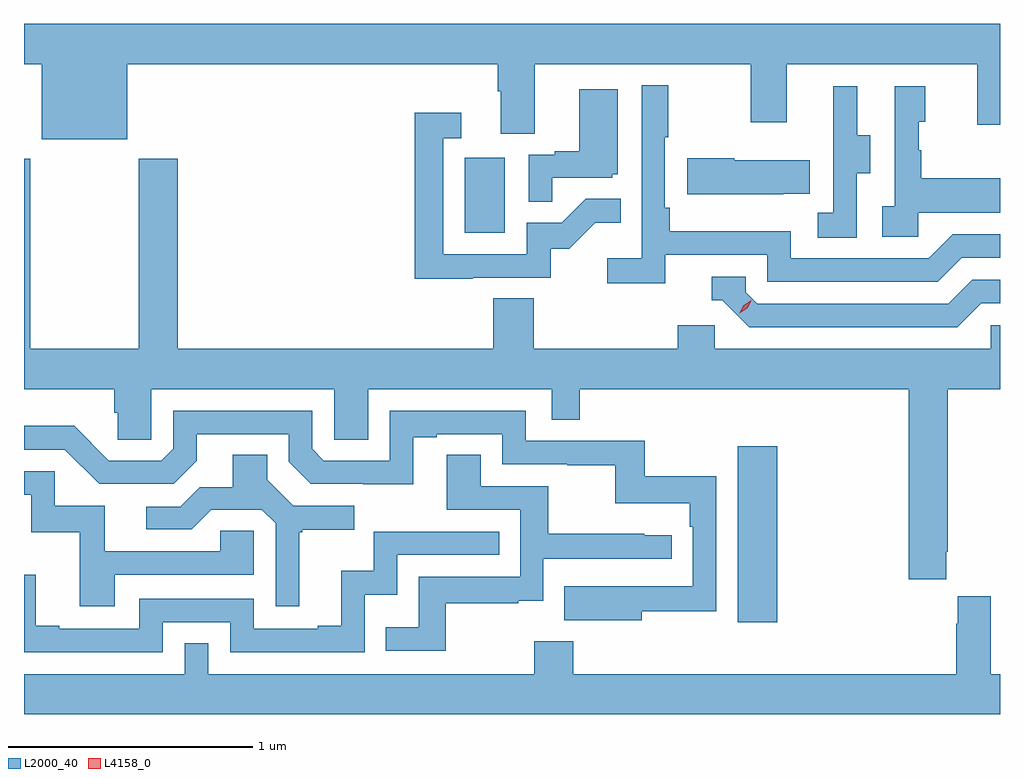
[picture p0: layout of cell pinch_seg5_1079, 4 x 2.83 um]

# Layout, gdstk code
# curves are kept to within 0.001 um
import gdstk
lib = gdstk.Library(unit=1e-6, precision=1e-09)
def R(c, l, rs):  # rectangles x0, y0, x1, y1
    for r in rs: c.add(gdstk.rectangle(r[:2], r[2:], *l))
def P(c, l, *ps):  # polygons
    for p in ps: c.add(gdstk.Polygon(p, *l))
L2000_40 = (2000, 40)
L4158_0 = (4158, 0)

pinch_seg5_1079 = lib.new_cell('pinch_seg5_1079')
R(pinch_seg5_1079, L2000_40, [(819.785,857.136,819.946,857.857), (818.666,858.732,818.83,859.039)])
P(pinch_seg5_1079, L2000_40, [(817.282,859.424),(818.801,859.424),(818.801,859.312),(818.813,859.312),(818.813,859.138),(818.953,859.138),(818.953,859.424),(819.838,859.424),(819.838,859.185),(819.985,859.185),(819.985,859.424),(820.766,859.424),(820.766,859.176),(820.859,859.176),(820.859,859.588),(816.859,859.588),(816.859,859.424),(816.932,859.424),(816.932,859.115),(817.282,859.115)],
  [(819.488,858.642),(819.906,858.642),(819.906,858.531),(820.603,858.531),(820.702,858.63),(820.859,858.63),(820.859,858.726),(820.665,858.726),(820.566,858.627),(820.002,858.627),(820.002,858.739),(819.506,858.739),(819.506,858.835),(819.486,858.835),(819.486,859.123),(819.499,859.123),(819.499,859.336),(819.39,859.336),(819.39,858.628),(819.249,858.628),(819.249,858.526),(819.488,858.526)],
  [(820.524,858.815),(820.859,858.815),(820.859,858.955),(820.537,858.955),(820.537,859.07),(820.527,859.07),(820.527,859.188),(820.552,859.188),(820.552,859.333),(820.428,859.333),(820.428,858.842),(820.377,858.842),(820.377,858.717),(820.524,858.717)],
  [(820.272,858.976),(820.327,858.976),(820.327,859.131),(820.273,859.131),(820.273,859.333),(820.175,859.333),(820.175,859.119),(820.176,859.119),(820.176,858.815),(820.113,858.815),(820.113,858.712),(820.272,858.712)],
  [(819.023,858.957),(819.27,858.957),(819.27,858.972),(819.292,858.972),(819.292,859.321),(819.134,859.321),(819.134,859.066),(819.035,859.066),(819.035,859.053),(818.928,859.053),(818.928,858.859),(819.023,858.859)],
  [(818.699,858.549),(819.018,858.549),(819.018,858.666),(819.094,858.666),(819.201,858.773),(819.305,858.773),(819.305,858.872),(819.161,858.872),(819.063,858.774),(818.919,858.774),(818.919,858.645),(818.577,858.645),(818.577,859.119),(818.65,859.119),(818.65,859.225),(818.461,859.225),(818.461,858.544),(818.699,858.544)],
  [(819.971,858.893),(820.079,858.893),(820.079,859.03),(819.769,859.03),(819.769,859.038),(819.578,859.038),(819.578,858.89),(819.971,858.89)],
  [(820.639,857.425),(820.644,857.425),(820.644,858.092),(820.859,858.092),(820.859,858.354),(820.821,858.354),(820.821,858.256),(819.69,858.256),(819.69,858.354),(819.539,858.354),(819.539,858.256),(818.948,858.256),(818.948,858.464),(818.783,858.464),(818.783,858.256),(817.49,858.256),(817.49,859.036),(817.33,859.036),(817.33,858.256),(816.885,858.256),(816.885,859.036),(816.859,859.036),(816.859,858.092),(817.229,858.092),(817.229,857.994),(817.243,857.994),(817.243,857.884),(817.38,857.884),(817.38,858.092),(818.13,858.092),(818.13,857.884),(818.269,857.884),(818.269,858.092),(819.021,858.092),(819.021,857.965),(819.137,857.965),(819.137,858.092),(820.484,858.092),(820.484,857.313),(820.639,857.313)],
  [(820.783,858.444),(820.859,858.444),(820.859,858.54),(820.746,858.54),(820.647,858.441),(819.864,858.441),(819.816,858.489),(819.816,858.552),(819.677,858.552),(819.677,858.456),(819.72,858.456),(819.831,858.345),(820.684,858.345)],
  [(819.391,857.182),(819.696,857.182),(819.696,857.734),(819.403,857.734),(819.403,857.88),(818.916,857.88),(818.916,858.003),(818.358,858.003),(818.358,857.799),(818.088,857.799),(818.04,857.847),(818.04,858.003),(817.47,858.003),(817.47,857.847),(817.422,857.799),(817.206,857.799),(817.064,857.941),(816.859,857.941),(816.859,857.844),(817.026,857.844),(817.167,857.703),(817.473,857.703),(817.567,857.797),(817.567,857.907),(817.944,857.907),(817.944,857.793),(818.034,857.703),(818.455,857.702),(818.455,857.895),(818.551,857.895),(818.551,857.907),(818.82,857.907),(818.82,857.784),(819.085,857.784),(819.085,857.779),(819.282,857.779),(819.282,857.624),(819.587,857.624),(819.587,857.528),(819.6,857.528),(819.6,857.283),(819.073,857.284),(819.073,857.144),(819.391,857.144)],
  [(818.587,857.214),(818.885,857.214),(818.885,857.225),(818.988,857.225),(818.988,857.397),(819.514,857.397),(819.514,857.493),(819.401,857.493),(819.401,857.498),(819.008,857.498),(819.008,857.694),(818.731,857.694),(818.731,857.822),(818.591,857.822),(818.591,857.598),(818.892,857.598),(818.892,857.322),(818.476,857.322),(818.476,857.116),(818.341,857.116),(818.341,857.019),(818.587,857.019)],
  [(817.987,857.505),(817.999,857.505),(817.999,857.516),(818.212,857.516),(818.212,857.613),(817.962,857.613),(817.855,857.72),(817.855,857.822),(817.715,857.822),(817.715,857.69),(817.58,857.69),(817.5,857.61),(817.359,857.61),(817.359,857.517),(817.546,857.517),(817.627,857.598),(817.833,857.598),(817.89,857.541),(817.89,857.202),(817.987,857.202)],
  [(817.231,857.331),(817.8,857.331),(817.8,857.511),(817.663,857.511),(817.663,857.427),(817.189,857.427),(817.189,857.613),(816.984,857.613),(816.984,857.754),(816.859,857.754),(816.859,857.658),(816.888,857.658),(816.888,857.505),(817.087,857.505),(817.087,857.202),(817.231,857.202)],
  [(817.428,857.136),(817.704,857.136),(817.704,857.013),(818.256,857.013),(818.256,857.249),(818.388,857.249),(818.388,857.412),(818.807,857.412),(818.807,857.508),(818.292,857.508),(818.292,857.347),(818.159,857.347),(818.159,857.122),(818.063,857.122),(818.063,857.109),(817.8,857.109),(817.8,857.232),(817.332,857.232),(817.332,857.109),(817.003,857.109),(817.003,857.122),(816.908,857.122),(816.908,857.33),(816.859,857.33),(816.859,857.013),(817.428,857.013)],
  [(820.859,856.924),(820.822,856.924),(820.822,857.242),(820.685,857.242),(820.685,857.129),(820.679,857.129),(820.679,856.924),(819.11,856.924),(819.11,857.059),(818.95,857.059),(818.95,856.924),(817.614,856.924),(817.614,857.051),(817.518,857.051),(817.518,856.924),(816.859,856.924),(816.859,856.76),(820.859,856.76)])
P(pinch_seg5_1079, L4158_0, [(819.792,858.403),(819.792,858.404),(819.809,858.436),(819.84,858.455),(819.84,858.455),(819.84,858.454),(819.824,858.422),(819.793,858.403)])

lib.write_gds('pinch_seg5_1079.gds')
